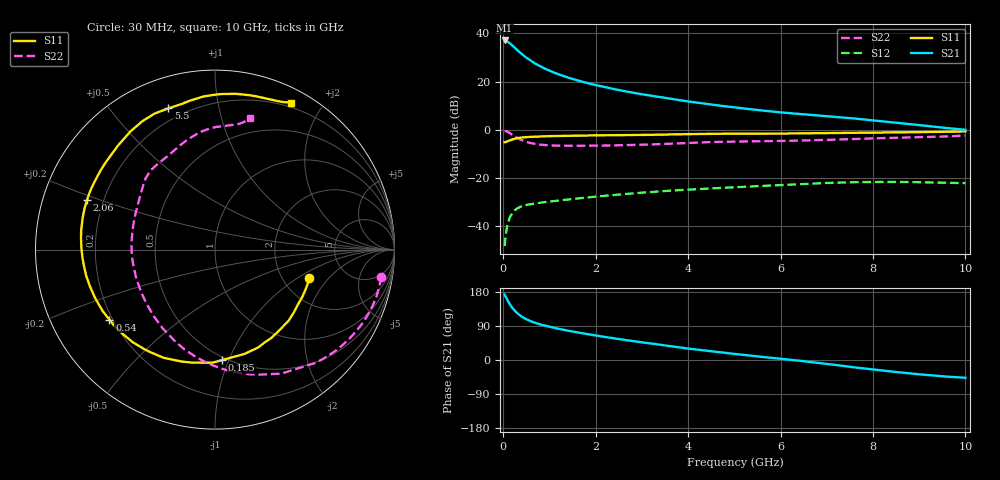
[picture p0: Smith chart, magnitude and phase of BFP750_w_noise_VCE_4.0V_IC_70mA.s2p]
! Infineon Technologies  Discrete & RF Semiconductors
! BFP750
! VCE =  4.0 V,  IC =  70 mA
! Common Emitter S-Parameters:  Jan 2016
# GHz  S  MA  R  50
!  f  S11  S21  S12  S22
! GHz  MAG  ANG  MAG  ANG  MAG  ANG  MAG  ANG
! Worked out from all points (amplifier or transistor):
!   229 points, 30 MHz to 10 GHz, reference 50 ohm
!   highest |S21| = 37.1 dB at 30 MHz (marker M1)
!   |S21| within 3 dB of that: start of sweep to 248.3 MHz
!   unconditionally stable (mu >= 1): 3.65 GHz to end of sweep
!   at 280 MHz: K = 0.21, MSG = 33.3 dB, |S12| = -33.0 dB
!   at 1.78 GHz: K = 0.75, MSG = 23.9 dB, |S12| = -28.3 dB
!   at 10 GHz: K = 1.04, MAG = 9.8 dB, |S12| = -22.2 dB
!   lowest NFmin = 1.24 dB at 450 MHz
!   S11 on the Smith chart (normalised r, x): 30 MHz: 2.78, -1.28; 185 MHz: 0.48, -0.94; 540 MHz: 0.19, -0.29; 2.06 GHz: 0.14, +0.18; 5.5 GHz: 0.14, +0.71; 10 GHz: 0.15, +1.63
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0.03  0.5499 -17.0  71.53 172.6  0.0038 74.5  0.9391 -9.3
0.06  0.5541 -33.4  70.51 165.2  0.0071 71.5  0.9319 -20.0
0.1  0.5775 -53.3  67.13 155.9  0.0112 65.6  0.8985 -33.4
0.15  0.604 -74.3  61.81 145.7  0.0155 58.8  0.843 -48.5
0.185  0.6168 -86.4  57.54 139.8  0.0177 53.9  0.797 -57.6
0.2  0.6303 -91.3  55.91 137.0  0.0187 52.2  0.7839 -61.8
0.26  0.651 -106.7  49.45 128.9  0.0216 46.2  0.7179 -75.2
0.3  0.6676 -115.5  45.49 123.8  0.023 43.0  0.6813 -83.4
0.34  0.6758 -122.5  41.97 120.0  0.0241 40.3  0.6478 -90.4
0.45  0.6968 -137.7  34.19 110.7  0.0265 35.2  0.5812 -107.0
0.54  0.7058 -146.4  29.57 105.5  0.0278 32.6  0.5436 -117.3
0.7  0.7206 -158.2  23.47 97.7  0.0295 29.7  0.5045 -132.4
0.92  0.7324 -169.2  18.25 90.0  0.0315 28.0  0.4782 -147.1
1.28  0.7458 178.0  13.27 80.2  0.0344 27.0  0.4645 -163.5
1.7  0.758 167.0  10.01 70.9  0.038 26.6  0.4642 -176.7
2.06  0.7647 158.9  8.22 63.6  0.0411 25.7  0.467 174.3
3.4  0.7886 134.6  4.727 40.1  0.0525 20.3  0.5017 148.3
5.1  0.8285 112.8  2.836 14.8  0.0645 10.6  0.5693 128.0
5.5  0.8287 108.3  2.563 9.3  0.0672 8.1  0.5748 123.4
6.8  0.8493 96.3  1.986 -7.3  0.0767 -1.2  0.6069 109.9
8.4  0.8813 77.5  1.431 -30.4  0.0822 -16.7  0.6768 92.0
10  0.9211 62.8  0.996 -46.9  0.0775 -28.4  0.7568 74.9
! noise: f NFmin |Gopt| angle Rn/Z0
0.45  1.24  0.23  -168  0.46
0.9  1.26  0.33  -162  0.18
1.5  1.28  0.43  -155  0.09
1.9  1.29  0.45  -149  0.08
2.4  1.29  0.45  -142  0.1
3.5  1.53  0.45  -126  0.13
